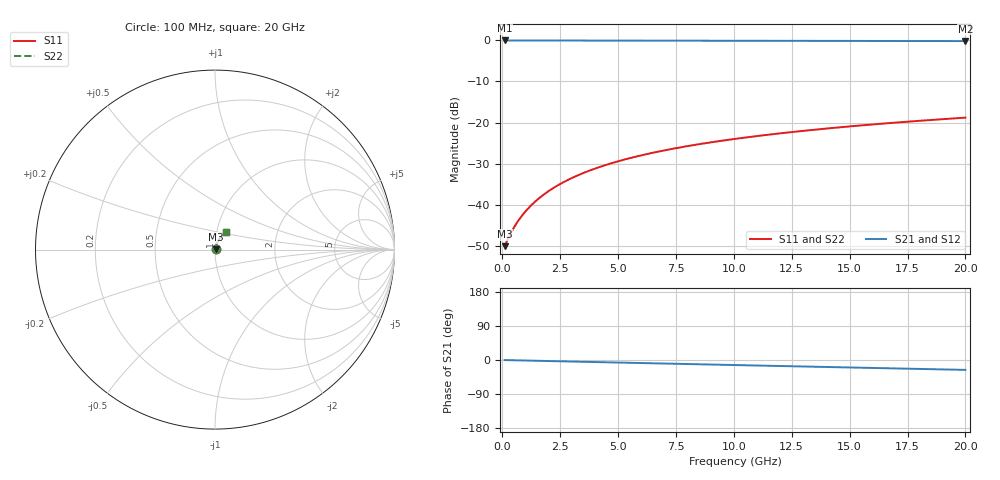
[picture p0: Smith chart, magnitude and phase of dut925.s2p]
! Touchstone file exported from HFSS 2026.1.0
!  File:  C:/ffzhzh/LocalFiles/Ansys_Project_Files/temp_train_BSMRDL_925_1783171826_18472.aedt
!  Generated:  09:31:35 PM Jul  4, 2026
!  Design:  BSMRDL
!  Project:  temp_train_BSMRDL_925_1783171826_18472
! Variables:
!  h_bsmrdl = 4.08um
!  h_ox = 20um
!  h_rdl = 5um
!  h_sub = 80um
!  h_tmrdl = 5um
!  h_tsv = 80um
!  h_via = 3um
!  l_bsmrdl = 453.26um
!  l_sub = 853.26um
!  l_tmrdl = 200um
!  m_sub = 200um
!  pitch = 20.67um
!  r_tsv = 6um
!  s_tmrdl = 10um
!  w_bsmrdl = 13.84um
!  w_sub = 500um
!  w_tmrdl = 12um
!  x_tsv_center1 = 206um
!  x_tsv_center2 = 673.1um
!  x_tsv_center3 = 885.1um
!  x_tsv_center4 = 1352.2um
!  x_tsv_center5 = 1564.2um
!  x_tsv_center6 = 2031.3um
# GHz S MA R 50.000000
! Terminal data exported
! Port[1] = BSM_RDL1_1_T1
! Port[2] = BSM_RDL1_1_T2
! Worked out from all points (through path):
!   200 points, 100 MHz to 20 GHz, reference 50 ohm
!   highest |S21| = -0.03 dB at 100 MHz (marker M1); lowest = -0.2 dB at 20 GHz (marker M2)
!   group delay of S21, straight-line fit = 3.61 ps
!   lowest |S11| = -50.1 dB at 100 MHz (marker M3), VSWR 1.01, Z = 50.3 + j0.0942 ohm
!   |S11| at or under -10 dB: start of sweep to end of sweep
!   |S22| runs from -50.1 to -18.8 dB; largest |S21 - S12| = 3.1e-15
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0.1  0.003127 17.4  0.997 -0.2  0.997 -0.2  0.003127 17.4
! Gamma 0 0 0 0
! Port Impedance 50 0 50 0
0.3  0.004144 37.0  0.9967 -0.4  0.9967 -0.4  0.004155 37.0
0.4  0.004694 42.9  0.9965 -0.6  0.9965 -0.6  0.004707 42.8
0.5  0.00526 47.5  0.9964 -0.7  0.9964 -0.7  0.005271 47.4
0.7  0.006438 54.3  0.9962 -1.0  0.9962 -1.0  0.006439 54.2
1  0.008277 60.7  0.996 -1.4  0.996 -1.4  0.008269 60.7
1.2  0.009528 63.6  0.9959 -1.7  0.9959 -1.7  0.00952 63.5
1.4  0.01079 65.7  0.9958 -1.9  0.9958 -1.9  0.01078 65.7
1.8  0.01335 68.6  0.9956 -2.5  0.9956 -2.5  0.01334 68.7
2.3  0.01657 70.8  0.9953 -3.1  0.9953 -3.1  0.01657 70.8
2.9  0.02044 72.1  0.9949 -3.9  0.9949 -3.9  0.02044 72.1
3.5  0.02429 72.6  0.9944 -4.8  0.9944 -4.8  0.02429 72.6
4.2  0.02874 72.7  0.9938 -5.7  0.9938 -5.7  0.02874 72.7
5  0.03373 72.4  0.9931 -6.8  0.9931 -6.8  0.03374 72.4
5.9  0.03924 71.8  0.9922 -7.9  0.9922 -7.9  0.03924 71.8
6.8  0.04462 71.0  0.9914 -9.1  0.9914 -9.1  0.04463 71.0
8.3  0.05335 69.6  0.9899 -11.1  0.9899 -11.1  0.05335 69.6
10.1  0.06348 67.7  0.9882 -13.4  0.9882 -13.4  0.06348 67.7
11.7  0.07223 66.0  0.9867 -15.5  0.9867 -15.5  0.07223 66.0
13.4  0.0813 64.2  0.9852 -17.7  0.9852 -17.7  0.08131 64.2
16.7  0.09834 60.6  0.9822 -21.9  0.9822 -21.9  0.09836 60.6
20  0.1146 57.0  0.9793 -26.1  0.9793 -26.1  0.1147 56.9
